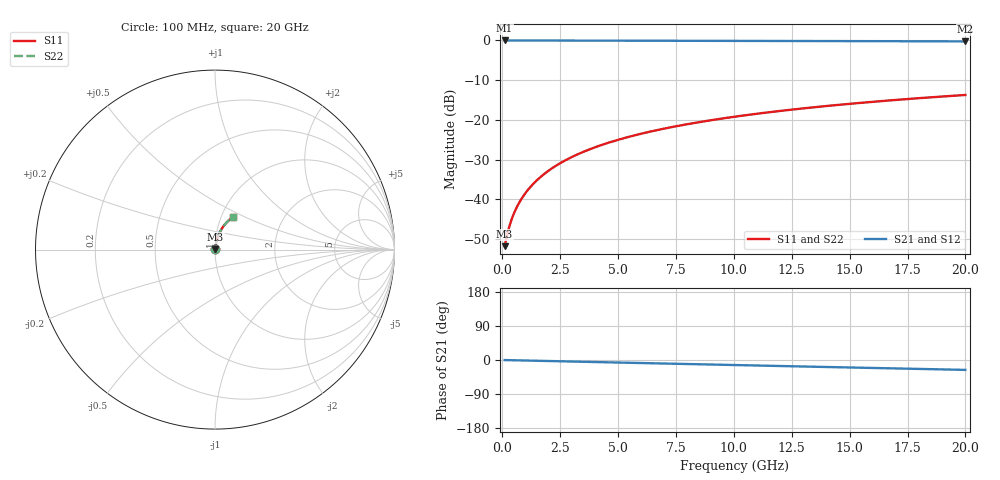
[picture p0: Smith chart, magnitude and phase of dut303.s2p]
! Touchstone file exported from HFSS 2026.1.0
!  File:  C:/ffzhzh/LocalFiles/Ansys_Project_Files/temp_train_TMRDL_303_1783003120_53980.aedt
!  Generated:  10:40:04 PM Jul  2, 2026
!  Design:  TMRDL
!  Project:  temp_train_TMRDL_303_1783003120_53980
! Variables:
!  h_bsmrdl = 2um
!  h_ox = 20um
!  h_rdl = 5um
!  h_sub = 80um
!  h_tmrdl = 3.05um
!  h_tsv = 80um
!  h_via = 3um
!  l_bsmrdl = 300um
!  l_sub = 786.8um
!  l_tmrdl = 386.8um
!  m_sub = 200um
!  pitch = 39.38um
!  r_tsv = 6um
!  s_tmrdl = 10um
!  w_bsmrdl = 18um
!  w_sub = 500um
!  w_tmrdl = 23um
!  x_tsv_center1 = 398.3um
!  x_tsv_center2 = 716.3um
!  x_tsv_center3 = 1126.1um
!  x_tsv_center4 = 1444.1um
!  x_tsv_center5 = 1853.9um
!  x_tsv_center6 = 2171.9um
# GHz S MA R 50.000000
! Terminal data exported
! Port[1] = TM_RDL1_1_T1
! Port[2] = TM_RDL1_1_T2
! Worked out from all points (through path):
!   200 points, 100 MHz to 20 GHz, reference 50 ohm
!   highest |S21| = -0.02 dB at 100 MHz (marker M1); lowest = -0.3 dB at 20 GHz (marker M2)
!   group delay of S21, straight-line fit = 3.62 ps
!   lowest |S11| = -51.8 dB at 100 MHz (marker M3), VSWR 1.01, Z = 50.2 + j0.132 ohm
!   |S11| at or under -10 dB: start of sweep to end of sweep
!   |S22| runs from -51.8 to -13.7 dB; largest |S21 - S12| = 2.8e-15
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0.1  0.002573 30.6  0.9978 -0.1  0.9978 -0.1  0.002573 30.6
! Gamma 0 0 0 0
! Port Impedance 50 0 50 0
0.2  0.003473 47.8  0.9977 -0.3  0.9977 -0.3  0.003473 47.8
0.3  0.004513 56.8  0.9975 -0.4  0.9975 -0.4  0.004513 56.8
0.4  0.005574 62.0  0.9974 -0.6  0.9974 -0.6  0.005574 62.0
0.5  0.006635 65.6  0.9973 -0.7  0.9973 -0.7  0.006635 65.6
0.6  0.007695 68.3  0.9972 -0.8  0.9972 -0.8  0.007695 68.3
0.8  0.009824 72.0  0.9971 -1.1  0.9971 -1.1  0.009824 72.0
1.1  0.01306 75.4  0.997 -1.5  0.997 -1.5  0.01306 75.4
1.3  0.01524 76.8  0.9969 -1.8  0.9969 -1.8  0.01524 76.8
1.6  0.01853 78.2  0.9968 -2.2  0.9968 -2.2  0.01853 78.3
2.1  0.02406 79.5  0.9965 -2.8  0.9965 -2.8  0.02406 79.5
2.7  0.03071 80.1  0.9962 -3.6  0.9962 -3.6  0.03071 80.1
3.5  0.03957 80.1  0.9957 -4.7  0.9957 -4.7  0.03957 80.1
4.2  0.04729 79.8  0.9951 -5.7  0.9951 -5.7  0.04729 79.8
5  0.05606 79.2  0.9944 -6.7  0.9944 -6.7  0.05606 79.2
5.9  0.06585 78.3  0.9935 -7.9  0.9935 -7.9  0.06585 78.3
6.8  0.07553 77.3  0.9925 -9.1  0.9925 -9.1  0.07553 77.3
8.3  0.09145 75.6  0.9906 -11.1  0.9906 -11.1  0.09145 75.6
10.1  0.1102 73.5  0.988 -13.4  0.988 -13.4  0.1102 73.5
13.4  0.1434 69.5  0.9826 -17.7  0.9826 -17.7  0.1434 69.5
16.7  0.1753 65.5  0.9766 -21.9  0.9766 -21.9  0.1753 65.5
20  0.2057 61.5  0.97 -26.1  0.97 -26.1  0.2057 61.6
